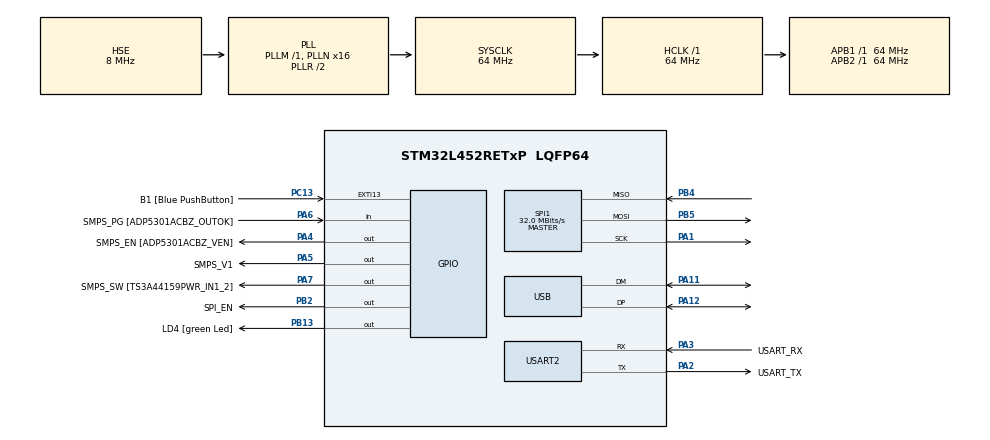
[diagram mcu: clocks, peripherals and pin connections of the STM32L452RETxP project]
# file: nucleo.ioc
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Dma.Request0=SPI1_RX
Dma.Request1=SPI1_TX
Dma.SPI1_RX.0.Direction=DMA_PERIPH_TO_MEMORY
Dma.SPI1_RX.0.Instance=DMA1_Channel2
Dma.SPI1_RX.0.MemDataAlignment=DMA_MDATAALIGN_BYTE
Dma.SPI1_RX.0.MemInc=DMA_MINC_ENABLE
Dma.SPI1_RX.0.Mode=DMA_NORMAL
Dma.SPI1_RX.0.PeriphDataAlignment=DMA_PDATAALIGN_BYTE
Dma.SPI1_RX.0.PeriphInc=DMA_PINC_DISABLE
Dma.SPI1_RX.0.Priority=DMA_PRIORITY_LOW
Dma.SPI1_TX.1.Direction=DMA_MEMORY_TO_PERIPH
Dma.SPI1_TX.1.Instance=DMA1_Channel3
Dma.SPI1_TX.1.MemDataAlignment=DMA_MDATAALIGN_BYTE
Dma.SPI1_TX.1.MemInc=DMA_MINC_ENABLE
Dma.SPI1_TX.1.Mode=DMA_NORMAL
Dma.SPI1_TX.1.PeriphDataAlignment=DMA_PDATAALIGN_BYTE
Dma.SPI1_TX.1.PeriphInc=DMA_PINC_DISABLE
Dma.SPI1_TX.1.Priority=DMA_PRIORITY_LOW
Mcu.Family=STM32L4
Mcu.Name=STM32L452RETxP
Mcu.Package=LQFP64
NVIC.DMA1_Channel2_IRQn=true\:0\:0\:false\:false\:true\:false\:false
NVIC.DMA1_Channel3_IRQn=true\:1\:0\:true\:false\:true\:false\:true
NVIC.PriorityGroup=NVIC_PRIORITYGROUP_4
NVIC.USB_IRQn=true\:0\:0\:false\:false\:true\:false\:true
PA1.Mode=Full_Duplex_Master
PA1.Signal=SPI1_SCK
PA11.Mode=Device
PA11.Signal=USB_DM
PA12.Mode=Device
PA12.Signal=USB_DP
PA13\ (JTMS/SWDIO).GPIO_Label=TMS
PA13\ (JTMS/SWDIO).Mode=Serial_Wire
PA13\ (JTMS/SWDIO).Signal=SYS_JTMS-SWDIO
PA14\ (JTCK/SWCLK).GPIO_Label=TCK
PA14\ (JTCK/SWCLK).Mode=Serial_Wire
PA14\ (JTCK/SWCLK).Signal=SYS_JTCK-SWCLK
PA2.GPIO_Label=USART_TX
PA2.GPIO_Mode=GPIO_MODE_AF_PP
PA2.GPIO_PuPd=GPIO_NOPULL
PA2.GPIO_Speed=GPIO_SPEED_FREQ_VERY_HIGH
PA2.Mode=Asynchronous
PA2.Signal=USART2_TX
PA3.GPIO_Label=USART_RX
PA3.GPIO_Mode=GPIO_MODE_AF_PP
PA3.GPIO_PuPd=GPIO_NOPULL
PA3.GPIO_Speed=GPIO_SPEED_FREQ_VERY_HIGH
PA3.Mode=Asynchronous
PA3.Signal=USART2_RX
PA4.GPIO_Label=SMPS_EN [ADP5301ACBZ_VEN]
PA4.Signal=GPIO_Output
PA5.GPIO_Label=SMPS_V1
PA5.GPIO_ModeDefaultOutputPP=GPIO_MODE_OUTPUT_PP
PA5.GPIO_PuPd=GPIO_NOPULL
PA5.GPIO_Speed=GPIO_SPEED_FREQ_LOW
PA5.Signal=GPIO_Output
PA6.GPIO_Label=SMPS_PG [ADP5301ACBZ_OUTOK]
PA6.GPIO_PuPd=GPIO_PULLUP
PA6.Signal=GPIO_Input
PA7.GPIO_Label=SMPS_SW [TS3A44159PWR_IN1_2]
PA7.Signal=GPIO_Output
PB13.GPIO_Label=LD4 [green Led]
PB13.Signal=GPIO_Output
PB2.GPIO_Label=SPI_EN
PB2.Signal=GPIO_Output
PB3\ (JTDO/TRACESWO).GPIO_Label=SWO
PB3\ (JTDO/TRACESWO).Signal=SYS_JTDO-SWO
PB4\ (NJTRST).Mode=Full_Duplex_Master
PB4\ (NJTRST).Signal=SPI1_MISO
PB5.Mode=Full_Duplex_Master
PB5.Signal=SPI1_MOSI
PC13.GPIO_Label=B1 [Blue PushButton]
PC13.GPIO_ModeDefaultEXTI=GPIO_MODE_IT_FALLING
PC13.GPIO_PuPd=GPIO_NOPULL
PC13.Signal=GPXTI13
PC14-OSC32_IN\ (PC14).Mode=LSE-External-Oscillator
PC14-OSC32_IN\ (PC14).Signal=RCC_OSC32_IN
PC15-OSC32_OUT\ (PC15).Mode=LSE-External-Oscillator
PC15-OSC32_OUT\ (PC15).Signal=RCC_OSC32_OUT
PH0-OSC_IN\ (PH0).GPIO_Label=MCO
PH0-OSC_IN\ (PH0).Mode=HSE-External-Clock-Source
PH0-OSC_IN\ (PH0).Signal=RCC_OSC_IN
PH1-OSC_OUT\ (PH1).Signal=RCC_OSC_OUT
ProjectManager.HeapSize=0x200
ProjectManager.StackSize=0x400
ProjectManager.TargetToolchain=MDK-ARM V5.27
RCC.ADCFreq_Value=48000000
RCC.AHBFreq_Value=64000000
RCC.APB1Freq_Value=64000000
RCC.APB1TimFreq_Value=64000000
RCC.APB2Freq_Value=64000000
RCC.APB2TimFreq_Value=64000000
RCC.CortexFreq_Value=64000000
RCC.EnbaleCSS=true
RCC.HCLKFreq_Value=64000000
RCC.HSE_VALUE=8000000
RCC.HSI48_VALUE=48000000
RCC.HSI_VALUE=16000000
RCC.MSI_VALUE=4000000
RCC.PLLN=16
RCC.PLLSAI1N=12
RCC.PLLSourceVirtual=RCC_PLLSOURCE_HSE
RCC.PREFETCH_ENABLE=1
RCC.SYSCLKFreq_VALUE=64000000
RCC.SYSCLKSource=RCC_SYSCLKSOURCE_PLLCLK
RCC.USBFreq_Value=48000000
RCC.VCOOutputFreq_Value=128000000
SPI1.CalculateBaudRate=32.0 MBits/s
SPI1.Direction=SPI_DIRECTION_2LINES
SPI1.Mode=SPI_MODE_MASTER
SPI1.VirtualType=VM_MASTER
USART2.VirtualMode-Asynchronous=VM_ASYNC
USB_DEVICE.CLASS_NAME_FS=CDC
USB_DEVICE.VirtualMode=Cdc
USB_DEVICE.VirtualModeFS=Cdc_FS
VP_USB_DEVICE_VS_USB_DEVICE_CDC_FS.Mode=CDC_FS
board=NUCLEO-L452RE-P

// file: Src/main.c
/* USER CODE BEGIN Header */
/**
  ******************************************************************************
  * @file           : main.c
  * @brief          : Main program body
  ******************************************************************************
  * @attention
  *
  * <h2><center>&copy; Copyright (c) 2020 STMicroelectronics.
  * All rights reserved.</center></h2>
  *
  * This software component is licensed by ST under Ultimate Liberty license
  * SLA0044, the "License"; You may not use this file except in compliance with
  * the License. You may obtain a copy of the License at:
  *                             www.st.com/SLA0044
  *
  ******************************************************************************
  */
/* USER CODE END Header */

#include "main.h"
#include "usb_device.h"

/* USER CODE BEGIN Includes */
#include "usbd_cdc_if.h"
#include "queue.h"
/* USER CODE END Includes */

SPI_HandleTypeDef hspi1;
DMA_HandleTypeDef hdma_spi1_rx;
DMA_HandleTypeDef hdma_spi1_tx;

UART_HandleTypeDef huart2;

/* USER CODE BEGIN PV */
Queue q_from_tx;
Queue q_from_rx;

uint8_t transmit_buff[MAX_QLENGTH];
uint8_t receive_buff[MAX_QLENGTH];
uint16_t transmit_len;

/* USER CODE END PV */

void SystemClock_Config(void);
static void MX_GPIO_Init(void);
static void MX_DMA_Init(void);
static void MX_USART2_UART_Init(void);
static void MX_SPI1_Init(void);

/* USER CODE BEGIN 0 */
/**
  * @brief  TxRx Transfer completed callback.
  * @param  hspi: SPI handle.
  * @note   This example shows a simple way to report end of DMA TxRx transfer, and
  *         you can add your own implementation.
  * @retval None
  */
void HAL_SPI_TxRxCpltCallback(SPI_HandleTypeDef *hspi)
{

}
//
/**
  * @brief  SPI error callbacks.
  * @param  hspi: SPI handle
  * @note   This example shows a simple way to report transfer error, and you can
  *         add your own implementation.
  * @retval None
  */
 void HAL_SPI_ErrorCallback(SPI_HandleTypeDef *hspi)
{

}
//
/* USER CODE END 0 */

int main(void)
{

  /* MCU Configuration--------------------------------------------------------*/

  /* Reset of all peripherals, Initializes the Flash interface and the Systick. */
  HAL_Init();

  /* Configure the system clock */
  SystemClock_Config();

  /* Initialize all configured peripherals */
  MX_GPIO_Init();
  MX_DMA_Init();
  MX_USART2_UART_Init();
  MX_USB_DEVICE_Init();
  MX_SPI1_Init();
  /* USER CODE BEGIN 2 */

  if(HAL_SPI_TransmitReceive_DMA(&hspi1, (uint8_t*)transmit_buff, (uint8_t *)receive_buff, MAX_QLENGTH) != HAL_OK)
  {
    /* Transfer error in transmission process */
    Error_Handler();
  }

	queue_init(&q_from_rx);
	queue_init(&q_from_tx);
  /* USER CODE END 2 */

  /* Infinite loop */
  /* USER CODE BEGIN WHILE */
  while (1)
  {
		transmit_len = queue_get_frontl(&q_from_rx);
		queue_get_front(&q_from_rx, transmit_buff, 0, transmit_len);
		CDC_Transmit_FS(transmit_buff, transmit_len);
		queue_pop(&q_from_rx);
    /* USER CODE END WHILE */

  }
}

void SystemClock_Config(void)
{
  RCC_OscInitTypeDef RCC_OscInitStruct = {0};
  RCC_ClkInitTypeDef RCC_ClkInitStruct = {0};
  RCC_PeriphCLKInitTypeDef PeriphClkInit = {0};

  /** Initializes the CPU, AHB and APB busses clocks
  */
  RCC_OscInitStruct.OscillatorType = RCC_OSCILLATORTYPE_HSE;
  RCC_OscInitStruct.HSEState = RCC_HSE_BYPASS;
  RCC_OscInitStruct.PLL.PLLState = RCC_PLL_ON;
  RCC_OscInitStruct.PLL.PLLSource = RCC_PLLSOURCE_HSE;
  RCC_OscInitStruct.PLL.PLLM = 1;
  RCC_OscInitStruct.PLL.PLLN = 16;
  RCC_OscInitStruct.PLL.PLLP = RCC_PLLP_DIV7;
  RCC_OscInitStruct.PLL.PLLQ = RCC_PLLQ_DIV2;
  RCC_OscInitStruct.PLL.PLLR = RCC_PLLR_DIV2;
  if (HAL_RCC_OscConfig(&RCC_OscInitStruct) != HAL_OK)
  {
    Error_Handler();
  }
  /** Initializes the CPU, AHB and APB busses clocks
  */
  RCC_ClkInitStruct.ClockType = RCC_CLOCKTYPE_HCLK|RCC_CLOCKTYPE_SYSCLK
                              |RCC_CLOCKTYPE_PCLK1|RCC_CLOCKTYPE_PCLK2;
  RCC_ClkInitStruct.SYSCLKSource = RCC_SYSCLKSOURCE_PLLCLK;
  RCC_ClkInitStruct.AHBCLKDivider = RCC_SYSCLK_DIV1;
  RCC_ClkInitStruct.APB1CLKDivider = RCC_HCLK_DIV1;
  RCC_ClkInitStruct.APB2CLKDivider = RCC_HCLK_DIV1;

  if (HAL_RCC_ClockConfig(&RCC_ClkInitStruct, FLASH_LATENCY_3) != HAL_OK)
  {
    Error_Handler();
  }
  PeriphClkInit.PeriphClockSelection = RCC_PERIPHCLK_USART2|RCC_PERIPHCLK_USB;
  PeriphClkInit.Usart2ClockSelection = RCC_USART2CLKSOURCE_PCLK1;
  PeriphClkInit.UsbClockSelection = RCC_USBCLKSOURCE_PLLSAI1;
  PeriphClkInit.PLLSAI1.PLLSAI1Source = RCC_PLLSOURCE_HSE;
  PeriphClkInit.PLLSAI1.PLLSAI1M = 1;
  PeriphClkInit.PLLSAI1.PLLSAI1N = 12;
  PeriphClkInit.PLLSAI1.PLLSAI1P = RCC_PLLP_DIV7;
  PeriphClkInit.PLLSAI1.PLLSAI1Q = RCC_PLLQ_DIV2;
  PeriphClkInit.PLLSAI1.PLLSAI1R = RCC_PLLR_DIV2;
  PeriphClkInit.PLLSAI1.PLLSAI1ClockOut = RCC_PLLSAI1_48M2CLK;
  if (HAL_RCCEx_PeriphCLKConfig(&PeriphClkInit) != HAL_OK)
  {
    Error_Handler();
  }
  /** Enables the Clock Security System
  */
  HAL_RCC_EnableCSS();
  /** Configure the main internal regulator output voltage
  */
  if (HAL_PWREx_ControlVoltageScaling(PWR_REGULATOR_VOLTAGE_SCALE1) != HAL_OK)
  {
    Error_Handler();
  }
}

static void MX_SPI1_Init(void)
{

  /* SPI1 parameter configuration*/
  hspi1.Instance = SPI1;
  hspi1.Init.Mode = SPI_MODE_MASTER;
  hspi1.Init.Direction = SPI_DIRECTION_2LINES;
  hspi1.Init.DataSize = SPI_DATASIZE_4BIT;
  hspi1.Init.CLKPolarity = SPI_POLARITY_LOW;
  hspi1.Init.CLKPhase = SPI_PHASE_1EDGE;
  hspi1.Init.NSS = SPI_NSS_SOFT;
  hspi1.Init.BaudRatePrescaler = SPI_BAUDRATEPRESCALER_2;
  hspi1.Init.FirstBit = SPI_FIRSTBIT_MSB;
  hspi1.Init.TIMode = SPI_TIMODE_DISABLE;
  hspi1.Init.CRCCalculation = SPI_CRCCALCULATION_DISABLE;
  hspi1.Init.CRCPolynomial = 7;
  hspi1.Init.CRCLength = SPI_CRC_LENGTH_DATASIZE;
  hspi1.Init.NSSPMode = SPI_NSS_PULSE_ENABLE;
  if (HAL_SPI_Init(&hspi1) != HAL_OK)
  {
    Error_Handler();
  }

}

static void MX_USART2_UART_Init(void)
{

  huart2.Instance = USART2;
  huart2.Init.BaudRate = 115200;
  huart2.Init.WordLength = UART_WORDLENGTH_8B;
  huart2.Init.StopBits = UART_STOPBITS_1;
  huart2.Init.Parity = UART_PARITY_NONE;
  huart2.Init.Mode = UART_MODE_TX_RX;
  huart2.Init.HwFlowCtl = UART_HWCONTROL_NONE;
  huart2.Init.OverSampling = UART_OVERSAMPLING_16;
  huart2.Init.OneBitSampling = UART_ONE_BIT_SAMPLE_DISABLE;
  huart2.AdvancedInit.AdvFeatureInit = UART_ADVFEATURE_NO_INIT;
  if (HAL_UART_Init(&huart2) != HAL_OK)
  {
    Error_Handler();
  }

}

static void MX_DMA_Init(void)
{

  /* DMA controller clock enable */
  __HAL_RCC_DMA1_CLK_ENABLE();

  /* DMA interrupt init */
  /* DMA1_Channel2_IRQn interrupt configuration */
  HAL_NVIC_SetPriority(DMA1_Channel2_IRQn, 0, 0);
  HAL_NVIC_EnableIRQ(DMA1_Channel2_IRQn);
  /* DMA1_Channel3_IRQn interrupt configuration */
  HAL_NVIC_SetPriority(DMA1_Channel3_IRQn, 1, 0);
  HAL_NVIC_EnableIRQ(DMA1_Channel3_IRQn);

}

static void MX_GPIO_Init(void)
{
  GPIO_InitTypeDef GPIO_InitStruct = {0};

  /* GPIO Ports Clock Enable */
  __HAL_RCC_GPIOC_CLK_ENABLE();
  __HAL_RCC_GPIOH_CLK_ENABLE();
  __HAL_RCC_GPIOA_CLK_ENABLE();
  __HAL_RCC_GPIOB_CLK_ENABLE();

  /*Configure GPIO pin Output Level */
  HAL_GPIO_WritePin(GPIOA, SMPS_EN_Pin|SMPS_V1_Pin|SMPS_SW_Pin, GPIO_PIN_RESET);

  /*Configure GPIO pin Output Level */
  HAL_GPIO_WritePin(GPIOB, SPI_EN_Pin|LD4_Pin, GPIO_PIN_RESET);

  /*Configure GPIO pin : B1_Pin */
  GPIO_InitStruct.Pin = B1_Pin;
  GPIO_InitStruct.Mode = GPIO_MODE_IT_FALLING;
  GPIO_InitStruct.Pull = GPIO_NOPULL;
  HAL_GPIO_Init(B1_GPIO_Port, &GPIO_InitStruct);

  /*Configure GPIO pins : SMPS_EN_Pin SMPS_V1_Pin SMPS_SW_Pin */
  GPIO_InitStruct.Pin = SMPS_EN_Pin|SMPS_V1_Pin|SMPS_SW_Pin;
  GPIO_InitStruct.Mode = GPIO_MODE_OUTPUT_PP;
  GPIO_InitStruct.Pull = GPIO_NOPULL;
  GPIO_InitStruct.Speed = GPIO_SPEED_FREQ_LOW;
  HAL_GPIO_Init(GPIOA, &GPIO_InitStruct);

  /*Configure GPIO pin : SMPS_PG_Pin */
  GPIO_InitStruct.Pin = SMPS_PG_Pin;
  GPIO_InitStruct.Mode = GPIO_MODE_INPUT;
  GPIO_InitStruct.Pull = GPIO_PULLUP;
  HAL_GPIO_Init(SMPS_PG_GPIO_Port, &GPIO_InitStruct);

  /*Configure GPIO pins : SPI_EN_Pin LD4_Pin */
  GPIO_InitStruct.Pin = SPI_EN_Pin|LD4_Pin;
  GPIO_InitStruct.Mode = GPIO_MODE_OUTPUT_PP;
  GPIO_InitStruct.Pull = GPIO_NOPULL;
  GPIO_InitStruct.Speed = GPIO_SPEED_FREQ_LOW;
  HAL_GPIO_Init(GPIOB, &GPIO_InitStruct);

}

void Error_Handler(void)
{
}

/************************ (C) COPYRIGHT STMicroelectronics *****END OF FILE****/
